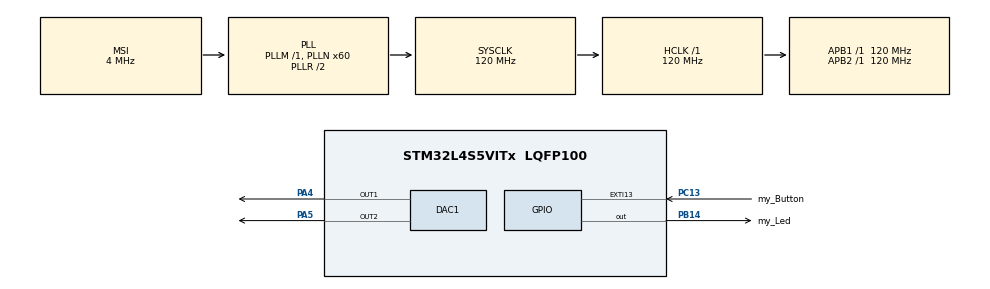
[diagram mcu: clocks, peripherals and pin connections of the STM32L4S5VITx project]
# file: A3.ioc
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DAC1.DAC_Channel-DAC_OUT2=DAC_CHANNEL_2
DAC1.DAC_Trigger-DAC_OUT1=DAC_TRIGGER_T2_TRGO
Dma.DAC1_CH1.0.Direction=DMA_MEMORY_TO_PERIPH
Dma.DAC1_CH1.0.EventEnable=DISABLE
Dma.DAC1_CH1.0.Instance=DMA1_Channel1
Dma.DAC1_CH1.0.MemDataAlignment=DMA_MDATAALIGN_WORD
Dma.DAC1_CH1.0.MemInc=DMA_MINC_ENABLE
Dma.DAC1_CH1.0.Mode=DMA_CIRCULAR
Dma.DAC1_CH1.0.PeriphDataAlignment=DMA_PDATAALIGN_HALFWORD
Dma.DAC1_CH1.0.PeriphInc=DMA_PINC_DISABLE
Dma.DAC1_CH1.0.Polarity=HAL_DMAMUX_REQUEST_GEN_RISING
Dma.DAC1_CH1.0.Priority=DMA_PRIORITY_LOW
Dma.DAC1_CH1.0.RequestNumber=1
Dma.DAC1_CH1.0.SignalID=NONE
Dma.DAC1_CH1.0.SyncEnable=DISABLE
Dma.DAC1_CH1.0.SyncPolarity=HAL_DMAMUX_SYNC_NO_EVENT
Dma.DAC1_CH1.0.SyncRequestNumber=1
Dma.DAC1_CH1.0.SyncSignalID=NONE
Dma.Request0=DAC1_CH1
Mcu.Family=STM32L4
Mcu.Name=STM32L4S5VITx
Mcu.Package=LQFP100
NVIC.DMA1_Channel1_IRQn=true\:0\:0\:false\:false\:true\:false\:true\:true
NVIC.EXTI15_10_IRQn=true\:0\:0\:false\:false\:true\:true\:true\:true
NVIC.PriorityGroup=NVIC_PRIORITYGROUP_4
NVIC.TIM2_IRQn=true\:0\:0\:false\:false\:true\:true\:true\:true
PA4.Signal=COMP_DAC11_group
PA5.Signal=COMP_DAC12_group
PB14.GPIO_Label=my_Led
PB14.Signal=GPIO_Output
PC13.GPIO_Label=my_Button
PC13.Signal=GPXTI13
ProjectManager.HeapSize=0x200
ProjectManager.StackSize=0x400
ProjectManager.TargetToolchain=STM32CubeIDE
RCC.ADCFreq_Value=48000000
RCC.AHBFreq_Value=120000000
RCC.APB1Freq_Value=120000000
RCC.APB1TimFreq_Value=120000000
RCC.APB2Freq_Value=120000000
RCC.APB2TimFreq_Value=120000000
RCC.CortexFreq_Value=120000000
RCC.HCLKFreq_Value=120000000
RCC.HSE_VALUE=8000000
RCC.HSI48_VALUE=48000000
RCC.HSI_VALUE=16000000
RCC.LSE_VALUE=32768
RCC.MSI_VALUE=4000000
RCC.PLLN=60
RCC.PLLSAI1N=24
RCC.SYSCLKFreq_VALUE=120000000
RCC.SYSCLKSource=RCC_SYSCLKSOURCE_PLLCLK
RCC.USBFreq_Value=48000000
RCC.VCOOutputFreq_Value=240000000
SH.COMP_DAC11_group.0=DAC1_OUT1,DAC_OUT1
SH.COMP_DAC12_group.0=DAC1_OUT2,DAC_OUT2
TIM2.Period=2721
TIM2.TIM_MasterOutputTrigger=TIM_TRGO_UPDATE
VP_TIM2_VS_ClockSourceINT.Mode=Internal
board=B-L4S5I-IOT01A

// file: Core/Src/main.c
/* USER CODE BEGIN Header */
/**
  ******************************************************************************
  * @file           : main.c
  * @brief          : Main program body
  ******************************************************************************
  * @attention
  *
  * Copyright (c) 2024 STMicroelectronics.
  * All rights reserved.
  *
  * This software is licensed under terms that can be found in the LICENSE file
  * in the root directory of this software component.
  * If no LICENSE file comes with this software, it is provided AS-IS.
  *
  ******************************************************************************
  */
/* USER CODE END Header */
#include "main.h"

/* USER CODE BEGIN Includes */
#define ARM_MATH_CM4
#include "arm_math.h"
/* USER CODE END Includes */

/* USER CODE BEGIN PM */
DAC_ChannelConfTypeDef sConfig;

/* USER CODE END PM */

DAC_HandleTypeDef hdac1;
DMA_HandleTypeDef hdma_dac1_ch1;

TIM_HandleTypeDef htim2;

/* USER CODE BEGIN PV */

/**
 * Part 1
 */
//// sample every 0.3 ms from an array of size 50
// int index = 0;
//// triangle
//uint16_t triangle_wave[50] = {0, 163, 327, 491, 655, 819, 982, 1146, 1310, 1474, 1638, 1801, 1965, 2129, 2293, 2457,
//                              2620, 2784, 2948, 3112, 3276, 3439, 3603, 3767, 3931, 4095, 3931, 3767, 3603, 3439, 3276,
//                              3112, 2948, 2784, 2620, 2457, 2293, 2129, 1965, 1801, 1638, 1474, 1310, 1146, 982, 819,
//                              655, 491, 327, 163};
//uint16_t triangle_signal;
//// saw
//uint16_t sawtooth_wave[50] = {0, 81, 163, 245, 327, 409, 491, 573, 655, 737, 819, 900, 982, 1064, 1146, 1228, 1310,
//                              1392, 1474, 1556, 1638, 1719, 1801, 1883, 1965, 2047, 2129, 2211, 2293, 2375, 2457, 2538,
//                              2620, 2702, 2784, 2866, 2948, 3030, 3112, 3194, 3276, 3357, 3439, 3521, 3603, 3685, 3767,
//                              3849, 3931, 4013};
//uint16_t saw_signal;
//// sine
//uint16_t sine_wave[50];
//uint16_t sine_signal;

/*
 * Part 2 Step 2
 * We want to achieve a 44.1 kHz sample rate therefore the counter period should be (clock frequency)/(44.1 kHz)
 * which means that the period of the counter should be 2721
 * thus with this counter we can reproduced a signal with a maximum frequency of 22kHz
 */
//uint16_t array[29]; //we want to reproduce a tone of 1.5kHz therefore there will be a total of 29 sample for 1 period
//int array_index = 0;

/**
 * Part 2 Step 3 and 4
 */
int tone; //keeps track of tone
int C6_size = 44; // C6 is 1 kHz, so 44 samples per period
int E6_size = 33; // E6 is 1.3 kHz, so 33 samples per period
int G6_size = 28; // G6 is 1.57 kHz, so 28 samples per period
uint16_t C6_data[44];
uint16_t E6_data[33];
uint16_t G6_data[28];

/* USER CODE END PV */

void SystemClock_Config(void);
static void MX_GPIO_Init(void);
static void MX_DMA_Init(void);
static void MX_DAC1_Init(void);
static void MX_TIM2_Init(void);

/* USER CODE BEGIN 0 */
void HAL_GPIO_EXTI_Callback(uint16_t GPIO_Pin) {
	if (GPIO_Pin == my_Button_Pin) {

		//Everytime we press we change tone
		tone = (tone + 1)%3;
		HAL_DAC_Stop_DMA(&hdac1, DAC_CHANNEL_1);

		//C6 tone
		if (tone == 0) {
			HAL_DAC_Start_DMA(&hdac1, DAC_CHANNEL_1, (uint32_t*) C6_data, (uint32_t) C6_size, DAC_ALIGN_12B_R);

		//E6 tone
		} else if (tone == 1) {
			HAL_DAC_Start_DMA(&hdac1, DAC_CHANNEL_1, (uint32_t*) E6_data, (uint32_t) E6_size, DAC_ALIGN_12B_R);

		//G6 tone
		} else if (tone == 2) {
			HAL_DAC_Start_DMA(&hdac1, DAC_CHANNEL_1, (uint32_t*) G6_data, (uint32_t) G6_size, DAC_ALIGN_12B_R);
		}

		HAL_GPIO_TogglePin(my_Led_GPIO_Port, my_Led_Pin);
	}
}

/**
 * Part 2 Step 2 Implemennting timer
 */
//void HAL_TIM_PeriodElapsedCallback(TIM_HandleTypeDef *htim) {
//	if (htim == &htim2) {
//		uint16_t signal = array[array_index];
//		array_index = (array_index+1)%29;
//		HAL_DAC_SetValue(&hdac1, DAC_CHANNEL_1, DAC_ALIGN_12B_R, signal);
//
//	}
//}

/* USER CODE END 0 */

int main(void)
{

  /* MCU Configuration--------------------------------------------------------*/

  /* Reset of all peripherals, Initializes the Flash interface and the Systick. */
  HAL_Init();

  /* Configure the system clock */
  SystemClock_Config();

  /* Initialize all configured peripherals */
  MX_GPIO_Init();
  MX_DMA_Init();
  MX_DAC1_Init();
  MX_TIM2_Init();
  /* USER CODE BEGIN 2 */

  HAL_DACEx_SelfCalibrate(&hdac1, &sConfig, DAC1_CHANNEL_1);

//  /**
//   * demo 1
//   */
//  // generate sine array of size 50
//  float segment = 2 * PI / 50;
//  for (int i = 0; i < 50; i++) {
//      float angle = i * segment;
//      float sine_value = arm_sin_f32(angle);
//      sine_wave[i] = (uint16_t)((sine_value + 1.0f)*(4094/2));
//  }

/**
 * Part 1 wave on DAC
 */
//  // Start the DAC for both channels
//  HAL_DAC_Start(&hdac1, DAC_CHANNEL_1);
//  HAL_DAC_Start(&hdac1, DAC_CHANNEL_2);

  HAL_TIM_Base_Start_IT(&htim2);

/**
 * Part 2 Sine wave generation Step 2
 */
//  for (int i = 0; i < 29; i++) {
//	  float angle = 2 * PI * i / 29;
//	  sine_array[i] = (uint16_t)((arm_sin_f32(angle) + 1) * 1365);
//  }

  /**
   *  Populate array of tones (part 2, step 3 & 4)
   */
  //
  for (int i = 0; i < C6_size; i++) {
	  float angleC6 = 2 * PI * i / C6_size;
	  C6_data[i] = (uint16_t) ((arm_sin_f32(angleC6)+1)*(1365)); // 1365 multiplier as 4095 max output, max sine output of 2, scale down to 2/3 to reduce distortion i.e. (4095/2)*(2/3)
  }
  for (int i = 0; i < E6_size; i++) {
	  float angleE6 = 2 * PI * i / E6_size;
	  E6_data[i] = (uint16_t) ((arm_sin_f32(angleE6)+1)*(1365));
  }
  for (int i = 0; i < G6_size; i++) {
	  float angleG6 = 2*PI*i/ G6_size;
	  G6_data[i] = (uint16_t) ((arm_sin_f32(angleG6)+1)*(1365));
  }

  /* USER CODE END 2 */

  /* Infinite loop */
  /* USER CODE BEGIN WHILE */
  while (1)
  {
//	  pt 1
    /* USER CODE END WHILE */

    /* USER CODE BEGIN 3 */

//    // get values from arrays
//    saw_signal = saw_wave[index];
//    triangle_signal = triangle_wave[index];
//    sine_signal = sine_wave[index];
//    index = index + 1;
//    // out the signals to the DAC
////    HAL_DAC_SetValue(&hdac1, DAC_CHANNEL_1, DAC_ALIGN_12B_R, triangle_signal);
//    HAL_DAC_SetValue(&hdac1, DAC_CHANNEL_1, DAC_ALIGN_12B_R, saw_signal);
//    // I think it's ok?
////    HAL_DAC_SetValue(&hdac1, DAC_CHANNEL_1, DAC_ALIGN_12B_R, sine_signal);
//
//    // freq
//    HAL_Delay(0.3);

  }
  /* USER CODE END 3 */
}

void SystemClock_Config(void)
{
  RCC_OscInitTypeDef RCC_OscInitStruct = {0};
  RCC_ClkInitTypeDef RCC_ClkInitStruct = {0};

  /** Configure the main internal regulator output voltage
  */
  if (HAL_PWREx_ControlVoltageScaling(PWR_REGULATOR_VOLTAGE_SCALE1_BOOST) != HAL_OK)
  {
    Error_Handler();
  }

  /** Initializes the RCC Oscillators according to the specified parameters
  * in the RCC_OscInitTypeDef structure.
  */
  RCC_OscInitStruct.OscillatorType = RCC_OSCILLATORTYPE_MSI;
  RCC_OscInitStruct.MSIState = RCC_MSI_ON;
  RCC_OscInitStruct.MSICalibrationValue = 0;
  RCC_OscInitStruct.MSIClockRange = RCC_MSIRANGE_6;
  RCC_OscInitStruct.PLL.PLLState = RCC_PLL_ON;
  RCC_OscInitStruct.PLL.PLLSource = RCC_PLLSOURCE_MSI;
  RCC_OscInitStruct.PLL.PLLM = 1;
  RCC_OscInitStruct.PLL.PLLN = 60;
  RCC_OscInitStruct.PLL.PLLP = RCC_PLLP_DIV2;
  RCC_OscInitStruct.PLL.PLLQ = RCC_PLLQ_DIV2;
  RCC_OscInitStruct.PLL.PLLR = RCC_PLLR_DIV2;
  if (HAL_RCC_OscConfig(&RCC_OscInitStruct) != HAL_OK)
  {
    Error_Handler();
  }

  /** Initializes the CPU, AHB and APB buses clocks
  */
  RCC_ClkInitStruct.ClockType = RCC_CLOCKTYPE_HCLK|RCC_CLOCKTYPE_SYSCLK
                              |RCC_CLOCKTYPE_PCLK1|RCC_CLOCKTYPE_PCLK2;
  RCC_ClkInitStruct.SYSCLKSource = RCC_SYSCLKSOURCE_PLLCLK;
  RCC_ClkInitStruct.AHBCLKDivider = RCC_SYSCLK_DIV1;
  RCC_ClkInitStruct.APB1CLKDivider = RCC_HCLK_DIV1;
  RCC_ClkInitStruct.APB2CLKDivider = RCC_HCLK_DIV1;

  if (HAL_RCC_ClockConfig(&RCC_ClkInitStruct, FLASH_LATENCY_5) != HAL_OK)
  {
    Error_Handler();
  }
}

static void MX_DAC1_Init(void)
{

  DAC_ChannelConfTypeDef sConfig = {0};

  /** DAC Initialization
  */
  hdac1.Instance = DAC1;
  if (HAL_DAC_Init(&hdac1) != HAL_OK)
  {
    Error_Handler();
  }

  /** DAC channel OUT1 config
  */
  sConfig.DAC_SampleAndHold = DAC_SAMPLEANDHOLD_DISABLE;
  sConfig.DAC_Trigger = DAC_TRIGGER_T2_TRGO;
  sConfig.DAC_HighFrequency = DAC_HIGH_FREQUENCY_INTERFACE_MODE_ABOVE_80MHZ;
  sConfig.DAC_OutputBuffer = DAC_OUTPUTBUFFER_ENABLE;
  sConfig.DAC_ConnectOnChipPeripheral = DAC_CHIPCONNECT_DISABLE;
  sConfig.DAC_UserTrimming = DAC_TRIMMING_FACTORY;
  if (HAL_DAC_ConfigChannel(&hdac1, &sConfig, DAC_CHANNEL_1) != HAL_OK)
  {
    Error_Handler();
  }

  /** DAC channel OUT2 config
  */
  sConfig.DAC_Trigger = DAC_TRIGGER_NONE;
  if (HAL_DAC_ConfigChannel(&hdac1, &sConfig, DAC_CHANNEL_2) != HAL_OK)
  {
    Error_Handler();
  }

}

static void MX_TIM2_Init(void)
{

  TIM_ClockConfigTypeDef sClockSourceConfig = {0};
  TIM_MasterConfigTypeDef sMasterConfig = {0};

  htim2.Instance = TIM2;
  htim2.Init.Prescaler = 0;
  htim2.Init.CounterMode = TIM_COUNTERMODE_UP;
  htim2.Init.Period = 2721;
  htim2.Init.ClockDivision = TIM_CLOCKDIVISION_DIV1;
  htim2.Init.AutoReloadPreload = TIM_AUTORELOAD_PRELOAD_DISABLE;
  if (HAL_TIM_Base_Init(&htim2) != HAL_OK)
  {
    Error_Handler();
  }
  sClockSourceConfig.ClockSource = TIM_CLOCKSOURCE_INTERNAL;
  if (HAL_TIM_ConfigClockSource(&htim2, &sClockSourceConfig) != HAL_OK)
  {
    Error_Handler();
  }
  sMasterConfig.MasterOutputTrigger = TIM_TRGO_UPDATE;
  sMasterConfig.MasterSlaveMode = TIM_MASTERSLAVEMODE_DISABLE;
  if (HAL_TIMEx_MasterConfigSynchronization(&htim2, &sMasterConfig) != HAL_OK)
  {
    Error_Handler();
  }

}

static void MX_DMA_Init(void)
{

  /* DMA controller clock enable */
  __HAL_RCC_DMAMUX1_CLK_ENABLE();
  __HAL_RCC_DMA1_CLK_ENABLE();

  /* DMA interrupt init */
  /* DMA1_Channel1_IRQn interrupt configuration */
  HAL_NVIC_SetPriority(DMA1_Channel1_IRQn, 0, 0);
  HAL_NVIC_EnableIRQ(DMA1_Channel1_IRQn);

}

static void MX_GPIO_Init(void)
{
  GPIO_InitTypeDef GPIO_InitStruct = {0};

  /* GPIO Ports Clock Enable */
  __HAL_RCC_GPIOC_CLK_ENABLE();
  __HAL_RCC_GPIOA_CLK_ENABLE();
  __HAL_RCC_GPIOB_CLK_ENABLE();

  /*Configure GPIO pin Output Level */
  HAL_GPIO_WritePin(my_Led_GPIO_Port, my_Led_Pin, GPIO_PIN_RESET);

  /*Configure GPIO pin : my_Button_Pin */
  GPIO_InitStruct.Pin = my_Button_Pin;
  GPIO_InitStruct.Mode = GPIO_MODE_IT_RISING;
  GPIO_InitStruct.Pull = GPIO_NOPULL;
  HAL_GPIO_Init(my_Button_GPIO_Port, &GPIO_InitStruct);

  /*Configure GPIO pin : my_Led_Pin */
  GPIO_InitStruct.Pin = my_Led_Pin;
  GPIO_InitStruct.Mode = GPIO_MODE_OUTPUT_PP;
  GPIO_InitStruct.Pull = GPIO_NOPULL;
  GPIO_InitStruct.Speed = GPIO_SPEED_FREQ_LOW;
  HAL_GPIO_Init(my_Led_GPIO_Port, &GPIO_InitStruct);

  /* EXTI interrupt init*/
  HAL_NVIC_SetPriority(EXTI15_10_IRQn, 0, 0);
  HAL_NVIC_EnableIRQ(EXTI15_10_IRQn);

}

void Error_Handler(void)
{
  __disable_irq();
  while (1)
  {
  }
}
